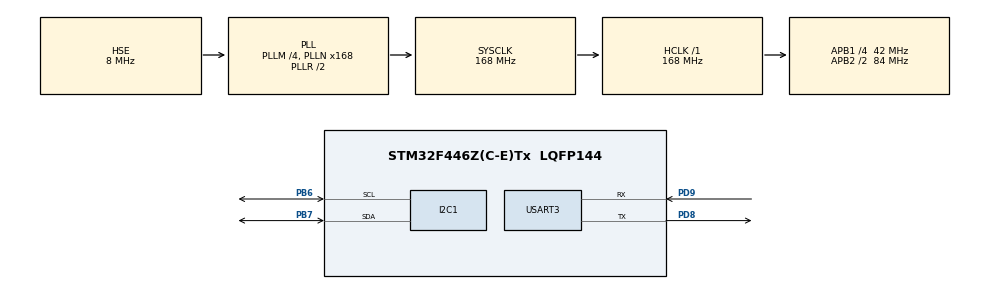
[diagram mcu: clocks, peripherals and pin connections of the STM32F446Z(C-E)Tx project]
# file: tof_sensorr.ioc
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Mcu.Family=STM32F4
Mcu.Name=STM32F446Z(C-E)Tx
Mcu.Package=LQFP144
NVIC.PriorityGroup=NVIC_PRIORITYGROUP_4
PA13.Mode=Serial_Wire
PA13.Signal=SYS_JTMS-SWDIO
PA14.Mode=Serial_Wire
PA14.Signal=SYS_JTCK-SWCLK
PB6.Mode=I2C
PB6.Signal=I2C1_SCL
PB7.Mode=I2C
PB7.Signal=I2C1_SDA
PC14-OSC32_IN.Mode=LSE-External-Oscillator
PC14-OSC32_IN.Signal=RCC_OSC32_IN
PC15-OSC32_OUT.Mode=LSE-External-Oscillator
PC15-OSC32_OUT.Signal=RCC_OSC32_OUT
PD8.Mode=Asynchronous
PD8.Signal=USART3_TX
PD9.Mode=Asynchronous
PD9.Signal=USART3_RX
PH0-OSC_IN.Mode=HSE-External-Oscillator
PH0-OSC_IN.Signal=RCC_OSC_IN
PH1-OSC_OUT.Mode=HSE-External-Oscillator
PH1-OSC_OUT.Signal=RCC_OSC_OUT
ProjectManager.HeapSize=0x200
ProjectManager.StackSize=0x400
ProjectManager.TargetToolchain=STM32CubeIDE
RCC.48MHZClocksFreq_Value=24000000
RCC.AHBFreq_Value=168000000
RCC.APB1CLKDivider=RCC_HCLK_DIV4
RCC.APB1Freq_Value=42000000
RCC.APB1TimFreq_Value=84000000
RCC.APB2CLKDivider=RCC_HCLK_DIV2
RCC.APB2Freq_Value=84000000
RCC.APB2TimFreq_Value=168000000
RCC.CortexFreq_Value=168000000
RCC.HCLKFreq_Value=168000000
RCC.HSE_VALUE=8000000
RCC.HSI_VALUE=16000000
RCC.PLLM=4
RCC.PLLMUL=RCC_PLL_MUL9
RCC.PLLN=168
RCC.PLLQ=7
RCC.PLLSourceVirtual=RCC_PLLSOURCE_HSE
RCC.PRESCALERUSB=RCC_USBCLKSOURCE_PLL_DIV1_5
RCC.SYSCLKFreq_VALUE=168000000
RCC.SYSCLKSource=RCC_SYSCLKSOURCE_PLLRCLK
RCC.SYSCLKSourceVirtual=RCC_SYSCLKSOURCE_PLLCLK
RCC.USBFreq_Value=48000000
RCC.VCOOutputFreq_Value=336000000
USART3.VirtualMode=VM_ASYNC
board=NUCLEO-F446ZE

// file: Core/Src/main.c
/* USER CODE BEGIN Header */
/* USER CODE END Header */
#include "main.h"

/* USER CODE BEGIN Includes */
#include "VL53L0X.h"
#include "stdio.h"
#include "string.h"
/* USER CODE END Includes */

I2C_HandleTypeDef hi2c1;

UART_HandleTypeDef huart3;

void SystemClock_Config(void);
static void MX_GPIO_Init(void);
static void MX_USART3_UART_Init(void);
static void MX_I2C1_Init(void);

int main(void)
{

  /* MCU Configuration--------------------------------------------------------*/

  /* Reset of all peripherals, Initializes the Flash interface and the Systick. */
  HAL_Init();

  /* Configure the system clock */
  SystemClock_Config();

  /* Initialize all configured peripherals */
  MX_GPIO_Init();
  MX_USART3_UART_Init();
  MX_I2C1_Init();
  /* USER CODE BEGIN 2 */

  char msgBuffer[52] = {0};
  uint16_t distance;

  statInfo_t_VL53L0X distanceStr;

  initVL53L0X(1, &hi2c1);

  setSignalRateLimit(200);
  setVcselPulsePeriod(VcselPeriodPreRange, 10);
  setVcselPulsePeriod(VcselPeriodFinalRange, 14);
  setMeasurementTimingBudget(300 * 1000UL);

  char* m = "a";
  char* v = "a";

  while(!HAL_UART_STATE_READY);

  HAL_UART_Transmit(&huart3, m, strlen(m), HAL_UART_STATE_TIMEOUT);
  HAL_Delay(100);
  HAL_UART_Transmit(&huart3, v, strlen(v), HAL_UART_STATE_TIMEOUT);

  /* USER CODE END 2 */

  /* Infinite loop */
  /* USER CODE BEGIN WHILE */
  while (1)
  {
	  distance = readRangeSingleMillimeters(&distanceStr);

	       sprintf(msgBuffer, "Distance: %d mm\r\n", distance);

	       HAL_UART_Transmit(&huart3, (uint8_t*)msgBuffer, strlen(msgBuffer), HAL_MAX_DELAY);

	       HAL_Delay(100);
    /* USER CODE END WHILE */

  }
}

void SystemClock_Config(void)
{
  RCC_OscInitTypeDef RCC_OscInitStruct = {0};
  RCC_ClkInitTypeDef RCC_ClkInitStruct = {0};

  /** Configure the main internal regulator output voltage
  */
  __HAL_RCC_PWR_CLK_ENABLE();
  __HAL_PWR_VOLTAGESCALING_CONFIG(PWR_REGULATOR_VOLTAGE_SCALE1);

  /** Initializes the RCC Oscillators according to the specified parameters
  * in the RCC_OscInitTypeDef structure.
  */
  RCC_OscInitStruct.OscillatorType = RCC_OSCILLATORTYPE_HSE;
  RCC_OscInitStruct.HSEState = RCC_HSE_ON;
  RCC_OscInitStruct.PLL.PLLState = RCC_PLL_ON;
  RCC_OscInitStruct.PLL.PLLSource = RCC_PLLSOURCE_HSE;
  RCC_OscInitStruct.PLL.PLLM = 4;
  RCC_OscInitStruct.PLL.PLLN = 168;
  RCC_OscInitStruct.PLL.PLLP = RCC_PLLP_DIV2;
  RCC_OscInitStruct.PLL.PLLQ = 7;
  RCC_OscInitStruct.PLL.PLLR = 2;
  if (HAL_RCC_OscConfig(&RCC_OscInitStruct) != HAL_OK)
  {
    Error_Handler();
  }

  /** Initializes the CPU, AHB and APB buses clocks
  */
  RCC_ClkInitStruct.ClockType = RCC_CLOCKTYPE_HCLK|RCC_CLOCKTYPE_SYSCLK
                              |RCC_CLOCKTYPE_PCLK1|RCC_CLOCKTYPE_PCLK2;
  RCC_ClkInitStruct.SYSCLKSource = RCC_SYSCLKSOURCE_PLLRCLK;
  RCC_ClkInitStruct.AHBCLKDivider = RCC_SYSCLK_DIV1;
  RCC_ClkInitStruct.APB1CLKDivider = RCC_HCLK_DIV4;
  RCC_ClkInitStruct.APB2CLKDivider = RCC_HCLK_DIV2;

  if (HAL_RCC_ClockConfig(&RCC_ClkInitStruct, FLASH_LATENCY_5) != HAL_OK)
  {
    Error_Handler();
  }
}

static void MX_I2C1_Init(void)
{

  hi2c1.Instance = I2C1;
  hi2c1.Init.ClockSpeed = 100000;
  hi2c1.Init.DutyCycle = I2C_DUTYCYCLE_2;
  hi2c1.Init.OwnAddress1 = 0;
  hi2c1.Init.AddressingMode = I2C_ADDRESSINGMODE_7BIT;
  hi2c1.Init.DualAddressMode = I2C_DUALADDRESS_DISABLE;
  hi2c1.Init.OwnAddress2 = 0;
  hi2c1.Init.GeneralCallMode = I2C_GENERALCALL_DISABLE;
  hi2c1.Init.NoStretchMode = I2C_NOSTRETCH_DISABLE;
  if (HAL_I2C_Init(&hi2c1) != HAL_OK)
  {
    Error_Handler();
  }

}

static void MX_USART3_UART_Init(void)
{

  huart3.Instance = USART3;
  huart3.Init.BaudRate = 115200;
  huart3.Init.WordLength = UART_WORDLENGTH_8B;
  huart3.Init.StopBits = UART_STOPBITS_1;
  huart3.Init.Parity = UART_PARITY_NONE;
  huart3.Init.Mode = UART_MODE_TX_RX;
  huart3.Init.HwFlowCtl = UART_HWCONTROL_NONE;
  huart3.Init.OverSampling = UART_OVERSAMPLING_16;
  if (HAL_UART_Init(&huart3) != HAL_OK)
  {
    Error_Handler();
  }

}

static void MX_GPIO_Init(void)
{

  /* GPIO Ports Clock Enable */
  __HAL_RCC_GPIOC_CLK_ENABLE();
  __HAL_RCC_GPIOH_CLK_ENABLE();
  __HAL_RCC_GPIOD_CLK_ENABLE();
  __HAL_RCC_GPIOA_CLK_ENABLE();
  __HAL_RCC_GPIOB_CLK_ENABLE();

}

void Error_Handler(void)
{
  __disable_irq();
  while (1)
  {
  }
}
